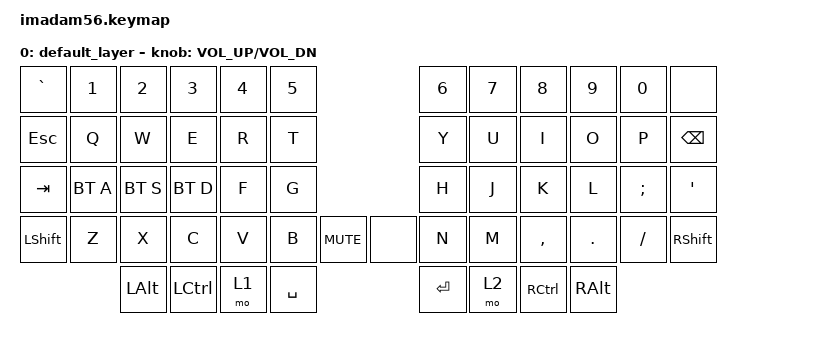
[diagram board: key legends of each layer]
/*
 * Copyright (c) 2020 The ZMK Contributors
 *
 * SPDX-License-Identifier: MIT
 */

#include <behaviors.dtsi>
#include <dt-bindings/zmk/keys.h>
#include <dt-bindings/zmk/bt.h>
#include <dt-bindings/zmk/ext_power.h>

/ {
  keymap {
    compatible = "zmk,keymap";

    default_layer {
      bindings = <
&kp GRAVE &kp N1 &kp N2   &kp N3   &kp N4    &kp N5                           &kp N6 &kp N7    &kp N8    &kp N9   &kp N0   &none
&kp ESC   &kp Q  &kp W    &kp E    &kp R     &kp T                            &kp Y  &kp U     &kp I     &kp O    &kp P    &kp BSPC
&kp TAB   &bt A  &bt S    &bt D    &kp F     &kp G                            &kp H  &kp J     &kp K     &kp L    &kp SEMI &kp SQT
&kp LSHFT &kp Z  &kp X    &kp C    &kp V     &kp B      &kp C_MUTE &none      &kp N  &kp M     &kp COMMA &kp DOT  &kp FSLH &kp RSHFT
                 &kp LALT &kp LCTRL &mo 1  &kp SPACE                            &kp RET &mo 2  &kp RCTRL &kp RALT 
            >;

            sensor-bindings = <&inc_dec_kp C_VOL_UP C_VOL_DN>;
          };
  };
};
